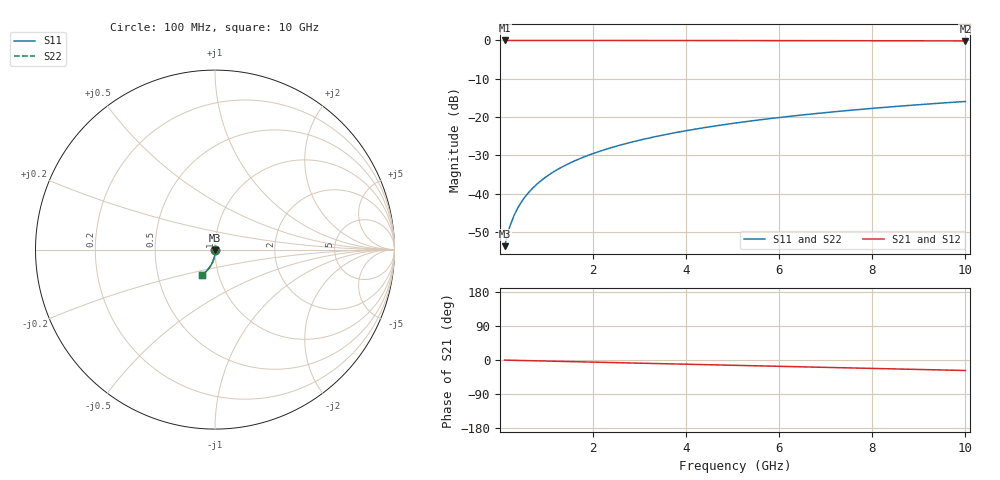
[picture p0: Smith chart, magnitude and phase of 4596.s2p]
# Hz S RI R 50.00
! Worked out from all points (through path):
!   100 points, 100 MHz to 10 GHz, reference 50 ohm
!   highest |S21| = -0.01 dB at 100 MHz (marker M1); lowest = -0.1 dB at 10 GHz (marker M2)
!   group delay of S21, straight-line fit = 7.7 ps
!   lowest |S11| = -53.8 dB at 100 MHz (marker M3), VSWR 1.00, Z = 50.1 - j0.167 ohm
!   |S11| at or under -10 dB: start of sweep to end of sweep
!   |S22| runs from -53.8 to -16.0 dB; largest |S21 - S12| = 0
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1e8  0.00119 -0.00167  0.9988 -0.00485  0.9988 -0.00485  0.00119 -0.00167
2e8  0.00117 -0.00334  0.9987 -0.00971  0.9987 -0.00971  0.00117 -0.00334
3e8  0.00114 -0.00501  0.9987 -0.0146  0.9987 -0.0146  0.00114 -0.00501
4e8  0.00108 -0.00667  0.9986 -0.0194  0.9986 -0.0194  0.00108 -0.00667
5e8  0.00101 -0.00834  0.9984 -0.0243  0.9984 -0.0243  0.00101 -0.00834
6e8  0.00092 -0.01  0.9983 -0.0291  0.9983 -0.0291  0.00092 -0.01
7e8  0.000816 -0.0117  0.9981 -0.034  0.9981 -0.034  0.000816 -0.0117
8e8  0.000694 -0.0133  0.9979 -0.0388  0.9979 -0.0388  0.000694 -0.0133
9e8  0.000557 -0.015  0.9977 -0.0437  0.9977 -0.0437  0.000557 -0.015
1.1e9  0.000232 -0.0183  0.9971 -0.0534  0.9971 -0.0534  0.000232 -0.0183
1.4e9  -0.000375 -0.0233  0.9961 -0.0679  0.9961 -0.0679  -0.000375 -0.0233
1.8e9  -0.00141 -0.0299  0.9944 -0.0872  0.9944 -0.0872  -0.00141 -0.0299
2.1e9  -0.00236 -0.0348  0.9929 -0.1017  0.9929 -0.1017  -0.00236 -0.0348
2.5e9  -0.00384 -0.0413  0.9904 -0.1209  0.9904 -0.1209  -0.00384 -0.0413
2.9e9  -0.00557 -0.0478  0.9876 -0.1401  0.9876 -0.1401  -0.00557 -0.0478
3.4e9  -0.00809 -0.0557  0.9834 -0.1639  0.9834 -0.1639  -0.00809 -0.0557
4.2e9  -0.0129 -0.0682  0.9755 -0.2018  0.9755 -0.2018  -0.0129 -0.0682
5.1e9  -0.0194 -0.0816  0.9646 -0.2439  0.9646 -0.2439  -0.0194 -0.0816
5.9e9  -0.0262 -0.0931  0.9533 -0.2807  0.9533 -0.2807  -0.0262 -0.0931
6.7e9  -0.0338 -0.104  0.9405 -0.3169  0.9405 -0.3169  -0.0338 -0.104
8.4e9  -0.0526 -0.1249  0.9084 -0.3914  0.9084 -0.3914  -0.0526 -0.1249
1e10  -0.0731 -0.1415  0.8725 -0.4581  0.8725 -0.4581  -0.0731 -0.1415
